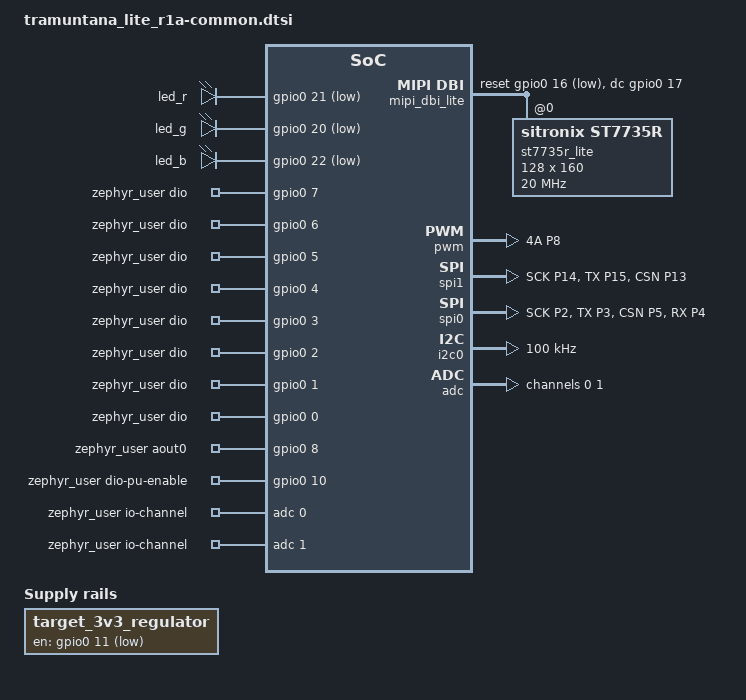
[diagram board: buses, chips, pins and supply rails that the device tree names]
/*
 * Tramuntana Lite r1a - on-board hardware.
 *
 * App-level devicetree overlay (no dedicated board port). Describes
 * everything that hangs off the Pico module's GPIOs on this board, derived
 * from the schematic netlist (kicad/tramuntana_lite_r1a.kicad_sch):
 *
 *   Header pin | Net              | Pico GPIO | Devicetree
 *   -----------|------------------|-----------|---------------------------
 *   J1.1       | /3V3_TARGET      | GPIO11    | regulator-fixed, alias targetpwr
 *   J1.3       | /AIN0            | GPIO26    | &adc channel 0
 *   J1.5       | /AIN1            | GPIO27    | &adc channel 1
 *   J1.7       | /AOUT0           | GPIO8     | &pwm slice 4A (aout0_pwm_default)
 *   J1.9-16    | DIO0..DIO7       | GPIO7..0  | zephyr,user dio-gpios
 *   -          | /DIO_PU_ENABLE   | GPIO10    | zephyr,user dio-pu-enable-gpios
 *   J2.3/4     | SPI1 SCK/MOSI    | GPIO14/15 | &spi1
 *   J2.5/6/7   | TFT RST/DC/CS    | GPIO16/17/13 | mipi-dbi-spi + st7735r
 *   D3         | LEDR/LEDG/LEDB   | GPIO20/21/22 | gpio-leds, alias led-r/g/b
 *
 * DIO2..DIO5 (GPIO5..2) and DIO6/DIO7 (GPIO1/0) double as the RP2350's
 * native SPI0 and I2C0, since that's what the connector's 8 GPIOs are for:
 *
 *   DIO pin | Pico GPIO | SPI0 signal | I2C0 signal
 *   --------|-----------|-------------|------------
 *   DIO2    | GPIO5     | CSN         | -
 *   DIO3    | GPIO4     | RX (MISO)   | -
 *   DIO4    | GPIO3     | TX (MOSI)   | -
 *   DIO5    | GPIO2     | SCK         | -
 *   DIO6    | GPIO1     | -           | SCL
 *   DIO7    | GPIO0     | -           | SDA
 *
 * &spi0/&i2c0 below are enabled alongside dio-gpios's plain-GPIO view of
 * the same pins - nothing stops an app from using both nodes, but only one
 * function actually drives a given pin at a time, so pick one per DIO pin
 * in practice. DIO6/DIO7 (I2C0) also double as UART0 (GPIO0/1), Zephyr's
 * default console on this board target - see the note further down.
 * tramuntana_fw disables UART0 and runs its bridge on UART1 instead, at
 * DIO1 (GPIO6, TX) / DIO0 (GPIO7, RX) through the UART_AUX pin function.
 *
 * Series resistors, the target-rail fuse/clamp diodes and the power-good
 * LED (D7) are electrical protection/indication only - not modeled here.
 */

#include <zephyr/dt-bindings/gpio/gpio.h>
#include <zephyr/dt-bindings/adc/adc.h>
#include <zephyr/dt-bindings/i2c/i2c.h>
#include <zephyr/dt-bindings/mipi_dbi/mipi_dbi.h>

/ {
  aliases {
    targetpwr = &target_3v3_regulator;
    led-r = &led_r;
    led-g = &led_g;
    led-b = &led_b;
  };

  chosen {
    zephyr,display = &st7735r_lite;
  };

  /* Q1 (P-FET high-side switch) gates the target's 3.3V rail. R17 pulls
   * the gate to 3V3 (off) at reset; GPIO11 low turns the rail on. */
  target_3v3_regulator: regulator-target-3v3 {
    compatible = "regulator-fixed";
    regulator-name = "target-3v3-regulator";
    enable-gpios = <&gpio0 11 GPIO_ACTIVE_LOW>;
    regulator-boot-off;
  };

  /* D3 is a common-anode RGB LED tied to +3V3: each leg sinks current
   * through the RP2350 GPIO, so all three lines are active-low.
   *
   * The schematic nets are named LEDR=GPIO20/LEDG=GPIO21/LEDB=GPIO22, but
   * on real hardware GPIO20 lights the green leg and GPIO21 the red one
   * (D3's symbol/footprint pinout doesn't match its net names) - swapped
   * here so led-r/led-g actually match what lights up. */
  leds {
    compatible = "gpio-leds";
    led_r: led-r {
      gpios = <&gpio0 21 GPIO_ACTIVE_LOW>;
    };
    led_g: led-g {
      gpios = <&gpio0 20 GPIO_ACTIVE_LOW>;
    };
    led_b: led-b {
      gpios = <&gpio0 22 GPIO_ACTIVE_LOW>;
    };
  };

  /* J1's 8 general-purpose header pins, exposed as plain GPIOs. DIO0..DIO7
   * map to GPIO7..GPIO0 (reversed on the header). aout0-gpios is kept for
   * reference only - GPIO8 is muxed to PWM by &pwm's pinctrl below, and
   * configuring it as a GPIO would undo that. */
  zephyr_user: zephyr,user {
    dio-gpios = <&gpio0 7 GPIO_ACTIVE_HIGH>, <&gpio0 6 GPIO_ACTIVE_HIGH>,
                <&gpio0 5 GPIO_ACTIVE_HIGH>, <&gpio0 4 GPIO_ACTIVE_HIGH>,
                <&gpio0 3 GPIO_ACTIVE_HIGH>, <&gpio0 2 GPIO_ACTIVE_HIGH>,
                <&gpio0 1 GPIO_ACTIVE_HIGH>, <&gpio0 0 GPIO_ACTIVE_HIGH>;
    aout0-gpios = <&gpio0 8 GPIO_ACTIVE_HIGH>;
    dio-pu-enable-gpios = <&gpio0 10 GPIO_ACTIVE_HIGH>;
    io-channels = <&adc 0>, <&adc 1>;
  };

  /* 1.8" 128x160 ST7735R panel on J2. BL is tied straight to +3V3 (no
   * GPIO control). MISO isn't wired, so this bus is write-only. */
  mipi_dbi_lite: mipi-dbi-lite {
    compatible = "zephyr,mipi-dbi-spi";
    spi-dev = <&spi1>;
    dc-gpios = <&gpio0 17 GPIO_ACTIVE_HIGH>;
    reset-gpios = <&gpio0 16 GPIO_ACTIVE_LOW>;
    write-only;
    #address-cells = <1>;
    #size-cells = <0>;

    st7735r_lite: st7735r@0 {
      compatible = "sitronix,st7735r";
      reg = <0>;
      mipi-mode = "MIPI_DBI_MODE_SPI_4WIRE";
      mipi-max-frequency = <20000000>;
      width = <128>;
      height = <160>;
      /* Generic clone panel: no tab-color info. If the picture comes out
       * shifted/mirrored, adjust x-offset/y-offset/madctl here. */
      x-offset = <0>;
      y-offset = <0>;
      madctl = <0x00>;
      colmod = <0x55>;
      vmctr1 = <0x0e>;
      pwctr1 = [a2 02 84];
      pwctr2 = [c5];
      pwctr3 = [0a 00];
      pwctr4 = [8a 2a];
      pwctr5 = [8a ee];
      frmctr1 = [01 2c 2d];
      frmctr2 = [01 2c 2d];
      frmctr3 = [01 2c 2d 01 2c 2d];
      gamctrp1 = [02 1c 07 12 37 32 29 2d 29 25 2b 39 00 01 03 10];
      gamctrn1 = [03 1d 07 06 2e 2c 29 2d 2e 2e 37 3f 00 00 02 10];
    };
  };
};

&pinctrl {
  spi1_default: spi1_default {
    group1 {
      pinmux = <SPI1_SCK_P14>, <SPI1_TX_P15>, <SPI1_CSN_P13>;
    };
  };

  /* Named dio_* rather than the usual spi0_default/i2c0_default: those
   * labels already exist in the stock rpi_pico2 pinctrl file on different
   * pins (GPIO16-19 and GPIO4/5) - reusing them would silently override
   * that node instead of adding a new one. */
  dio_spi0_default: dio_spi0_default {
    group1 {
      pinmux = <SPI0_SCK_P2>, <SPI0_TX_P3>, <SPI0_CSN_P5>;
    };
    group2 {
      pinmux = <SPI0_RX_P4>;
      input-enable;
    };
  };

  dio_i2c0_default: dio_i2c0_default {
    group1 {
      pinmux = <I2C0_SDA_P0>, <I2C0_SCL_P1>;
      input-enable;
      input-schmitt-enable;
    };
  };

  /* AOUT0 = GPIO8 = PWM slice 4 channel A, behind R3/C3 (2k7/1nF). */
  aout0_pwm_default: aout0_pwm_default {
    group1 {
      pinmux = <PWM_4A_P8>;
    };
  };
};

/* The 'aout' waveform generator (src/aout.c) drives slice 4 straight from
 * hardware/pwm.h; enabling the node here is what brings the PWM block out
 * of reset and muxes GPIO8 to it at boot. */
&pwm {
  pinctrl-0 = <&aout0_pwm_default>;
  pinctrl-names = "default";
  status = "okay";
};

&spi1 {
  pinctrl-0 = <&spi1_default>;
  pinctrl-names = "default";
  status = "okay";
};

/* DIO2..DIO5 as a hardware SPI0 bus (master mode, hardware CSN on DIO2). */
&spi0 {
  pinctrl-0 = <&dio_spi0_default>;
  pinctrl-names = "default";
  status = "okay";
};

/* DIO6/DIO7 as a hardware I2C0 bus. 100kHz Standard-mode by default since
 * whatever's plugged into J1 is unknown - raise it in an app overlay
 * (&i2c0 { clock-frequency = <I2C_BITRATE_FAST>; };) if it can go faster. */
&i2c0 {
  clock-frequency = <I2C_BITRATE_STANDARD>;
  pinctrl-0 = <&dio_i2c0_default>;
  pinctrl-names = "default";
  status = "okay";
};

/* No pins of its own (internal bus-to-memory engine) - disabled by default
 * upstream, enabled here so CONFIG_DMA_RPI_PICO can build (see 'scope1' in
 * src/main.c, which drives one channel straight from hardware/dma.h). */
&dma {
  status = "okay";
};

/* GPIO26/GPIO27 (ADC0/ADC1) are already muxed by the stock board's
 * adc_default pinctrl group - only the channels themselves are added here.
 * That group also turns the pads' digital input on, which on the RP2350
 * (erratum E9) leaks enough current to hold a floating AIN pin at ~2.2 V:
 * with AIN1 wired to the switched-off 3V3_TARGET rail it back-powers the
 * rail and lights D7. An analog pin needs no digital input, so drop it. */
&adc_default {
  group1 {
    /delete-property/ input-enable;
  };
};

&adc {
  #address-cells = <1>;
  #size-cells = <0>;

  channel@0 {
    reg = <0>;
    zephyr,gain = "ADC_GAIN_1";
    zephyr,reference = "ADC_REF_INTERNAL";
    zephyr,acquisition-time = <ADC_ACQ_TIME_DEFAULT>;
    zephyr,resolution = <12>;
  };

  channel@1 {
    reg = <1>;
    zephyr,gain = "ADC_GAIN_1";
    zephyr,reference = "ADC_REF_INTERNAL";
    zephyr,acquisition-time = <ADC_ACQ_TIME_DEFAULT>;
    zephyr,resolution = <12>;
  };
};

/* Also pin-less from devicetree's point of view: 'spidrv sniff' (src/spi.c)
 * muxes DIO2/DIO3/DIO5 onto it at runtime with gpio_set_function() and
 * loads its own capture program straight through hardware/pio.h. Enabling
 * the node is what turns on CONFIG_PIO_RPI_PICO (clock + reset release at
 * boot) and, via CONFIG_PICOSDK_USE_PIO, pulls the SDK's pio.c into the
 * build. */
&pio0 {
  status = "okay";
};
